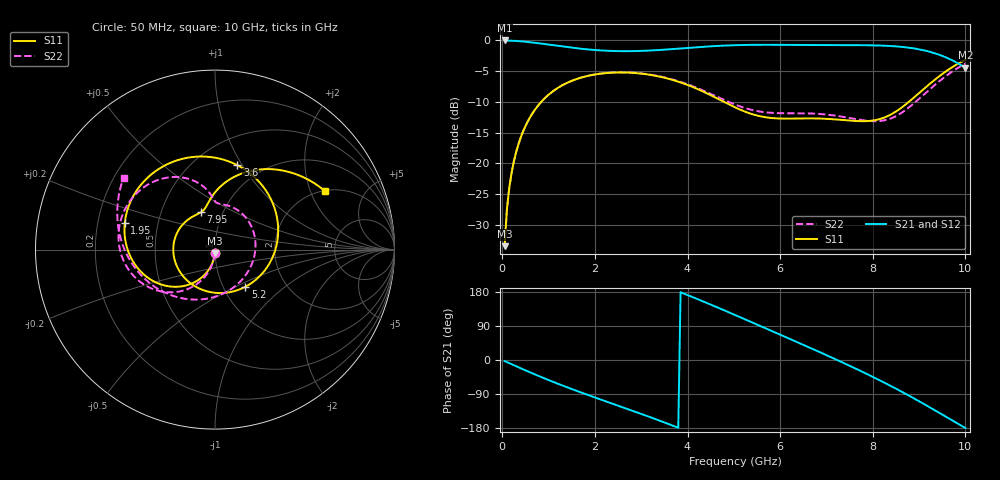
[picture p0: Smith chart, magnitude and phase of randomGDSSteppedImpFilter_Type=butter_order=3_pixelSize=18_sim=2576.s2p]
! freq	dB(S11)	phase(S11)	dB(S12)	phase(S12)
!  dB(S21)	phase(S21)	dB(S22)	phase(S22)
!S-par simulation data
#  GHz  S  DB  R 50
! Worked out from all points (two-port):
!   200 points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, 50 MHz to 10 GHz, reference 50 ohm
!   highest |S21| = -0.01 dB at 50 MHz (marker M1); lowest = -4.5 dB at 10 GHz (marker M2)
!   |S21| within 3 dB of the highest: start of sweep to 9.653 GHz
!   lowest |S11| = -33.4 dB at 50 MHz (marker M3), VSWR 1.04, Z = 49.8 - j2.12 ohm
!   |S11| at or under -10 dB: start of sweep to 840.6 MHz; 4.788 GHz to 8.777 GHz (3.989 GHz wide, 58.8 % of centre)
!   |S22| runs from -33.4 to -3.8 dB; largest |S21 - S12| = 0
!   S11 on the Smith chart (normalised r, x): 50 MHz: 1.00, -0.04; 1.95 GHz: 0.32, +0.13; 3.6 GHz: 0.77, +0.95; 5.2 GHz: 1.27, -0.56; 7.95 GHz: 0.79, +0.34; 10 GHz: 2.04, +2.56
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0.05  -33.45 -92.9  -0.01 -2.8  -0.01 -2.8  -33.45 -92.5
0.1  -27.46 -96.1  -0.02 -5.6  -0.02 -5.6  -27.46 -95.2
0.2  -21.54 -102.2  -0.05 -11.1  -0.05 -11.1  -21.54 -100.5
0.5  -13.93 -120.0  -0.22 -27.3  -0.22 -27.3  -13.93 -115.7
1.1  -8.23 -153.3  -0.78 -57.9  -0.78 -57.9  -8.22 -143.6
1.75  -5.95 173.3  -1.40 -87.9  -1.40 -87.9  -5.94 -170.2
1.95  -5.61 163.3  -1.53 -96.7  -1.53 -96.7  -5.60 -177.8
2.75  -5.24 123.0  -1.75 -131.2  -1.75 -131.2  -5.22 153.8
3.4  -5.89 87.2  -1.56 -160.1  -1.56 -160.1  -5.84 132.3
3.6  -6.26 75.2  -1.45 -169.4  -1.45 -169.4  -6.19 126.0
4.35  -8.36 23.8  -1.03 154.0  -1.03 154.0  -8.18 105.2
5.05  -10.97 -36.3  -0.77 117.5  -0.77 117.5  -10.49 93.5
5.2  -11.46 -50.8  -0.74 109.6  -0.74 109.6  -10.90 92.0
5.9  -12.67 -119.8  -0.71 72.2  -0.71 72.2  -11.81 84.8
6.7  -12.68 174.0  -0.75 29.2  -0.75 29.2  -11.89 63.2
7.35  -12.94 134.4  -0.76 -6.7  -0.76 -6.7  -12.41 31.0
7.95  -13.07 110.9  -0.80 -41.5  -0.80 -41.5  -13.11 -14.8
8.35  -12.21 101.6  -0.90 -66.0  -0.90 -66.0  -12.79 -55.9
8.75  -10.17 91.3  -1.16 -92.0  -1.16 -92.0  -11.08 -100.6
9.15  -7.58 75.4  -1.69 -119.3  -1.69 -119.3  -8.50 -142.2
9.6  -4.92 51.6  -2.83 -151.2  -2.83 -151.2  -5.69 175.9
10  -3.16 27.8  -4.45 -179.5  -4.45 -179.5  -3.77 141.8
